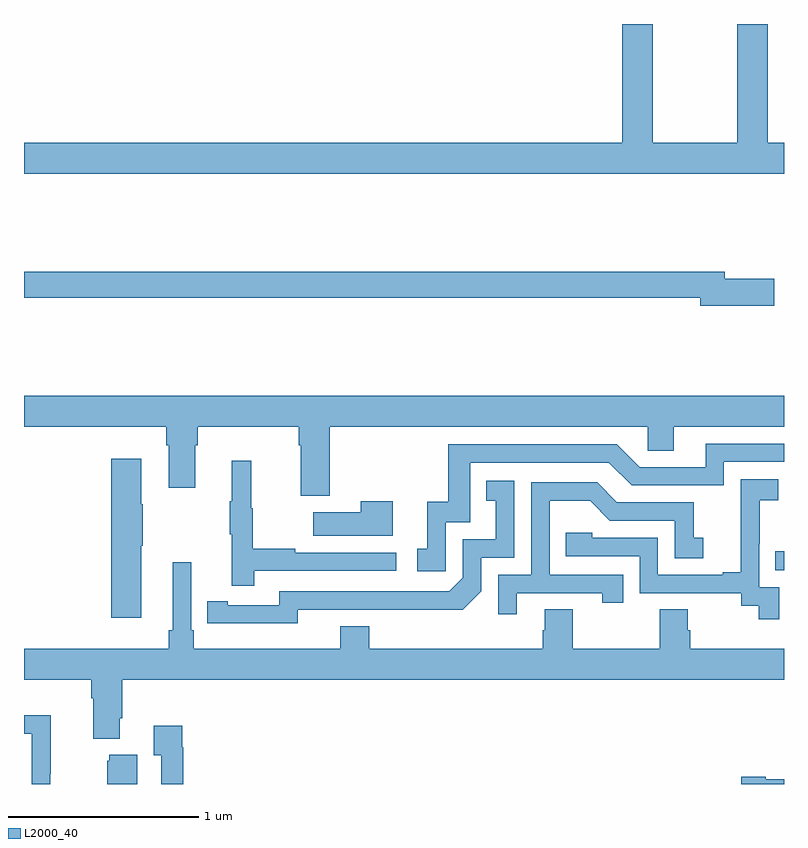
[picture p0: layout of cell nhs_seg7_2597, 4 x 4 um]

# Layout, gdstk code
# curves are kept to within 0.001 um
import gdstk
lib = gdstk.Library(unit=1e-6, precision=1e-09)
def R(c, l, rs):  # rectangles x0, y0, x1, y1
    for r in rs: c.add(gdstk.rectangle(r[:2], r[2:], *l))
def P(c, l, *ps):  # polygons
    for p in ps: c.add(gdstk.Polygon(p, *l))
L2000_40 = (2000, 40)

nhs_seg7_2597 = lib.new_cell('nhs_seg7_2597')
R(nhs_seg7_2597, L2000_40, [(282.955,1069.125,283,1069.226)])
P(nhs_seg7_2597, L2000_40, [(283,1071.376),(282.914,1071.376),(282.914,1072),(282.754,1072),(282.754,1071.376),(282.309,1071.376),(282.309,1072),(282.149,1072),(282.149,1071.376),(279,1071.376),(279,1071.212),(283,1071.212)],
  [(282.949,1070.66),(282.688,1070.66),(282.688,1070.696),(279,1070.696),(279,1070.56),(282.56,1070.56),(282.56,1070.518),(282.949,1070.518)],
  [(280.61,1069.88),(282.282,1069.88),(282.282,1069.753),(282.421,1069.753),(282.421,1069.88),(283,1069.88),(283,1070.044),(279,1070.044),(279,1069.88),(279.749,1069.88),(279.749,1069.784),(279.761,1069.784),(279.761,1069.56),(279.901,1069.56),(279.901,1069.784),(279.914,1069.784),(279.914,1069.88),(280.445,1069.88),(280.445,1069.784),(280.457,1069.784),(280.457,1069.518),(280.61,1069.518)],
  [(281.22,1069.377),(281.349,1069.377),(281.349,1069.692),(282.078,1069.692),(282.198,1069.572),(282.684,1069.572),(282.684,1069.695),(283,1069.695),(283,1069.791),(282.587,1069.791),(282.587,1069.668),(282.24,1069.668),(282.12,1069.788),(281.233,1069.788),(281.233,1069.486),(281.123,1069.486),(281.123,1069.239),(281.07,1069.239),(281.07,1069.119),(281.22,1069.119)],
  [(279.616,1069.255),(279.624,1069.255),(279.624,1069.472),(279.616,1069.472),(279.616,1069.711),(279.458,1069.711),(279.458,1068.876),(279.616,1068.876)],
  [(280.211,1069.122),(280.96,1069.122),(280.96,1069.218),(280.427,1069.218),(280.427,1069.238),(280.204,1069.238),(280.204,1069.452),(280.196,1069.452),(280.196,1069.702),(280.094,1069.702),(280.094,1069.489),(280.083,1069.489),(280.083,1069.315),(280.094,1069.315),(280.094,1069.044),(280.211,1069.044)],
  [(282.975,1069.035),(282.87,1069.035),(282.87,1069.265),(282.872,1069.265),(282.872,1069.493),(282.97,1069.493),(282.97,1069.603),(282.772,1069.603),(282.772,1069.397),(282.773,1069.397),(282.773,1069.114),(282.677,1069.114),(282.677,1069.101),(282.336,1069.101),(282.336,1069.296),(281.991,1069.296),(281.991,1069.323),(281.851,1069.323),(281.851,1069.2),(282.24,1069.2),(282.24,1069.005),(282.774,1069.005),(282.774,1068.937),(282.867,1068.937),(282.867,1068.867),(282.975,1068.867)],
  [(280.44,1068.918),(281.308,1068.917),(281.406,1069.014),(281.406,1069.191),(281.58,1069.191),(281.58,1069.597),(281.434,1069.597),(281.434,1069.491),(281.483,1069.491),(281.483,1069.287),(281.31,1069.287),(281.31,1069.086),(281.238,1069.014),(280.344,1069.014),(280.344,1068.942),(280.072,1068.942),(280.072,1068.962),(279.964,1068.962),(279.964,1068.846),(280.44,1068.845)],
  [(281.593,1069.005),(282.044,1069.005),(282.044,1068.954),(282.155,1068.954),(282.155,1069.101),(281.766,1069.101),(281.766,1069.49),(281.98,1069.49),(282.084,1069.386),(282.426,1069.386),(282.426,1069.188),(282.574,1069.188),(282.574,1069.297),(282.525,1069.297),(282.525,1069.482),(282.121,1069.482),(282.016,1069.587),(281.67,1069.587),(281.67,1069.101),(281.496,1069.101),(281.496,1068.894),(281.593,1068.894)],
  [(280.942,1069.489),(280.772,1069.489),(280.772,1069.429),(280.523,1069.429),(280.523,1069.307),(280.942,1069.307)],
  [(279.505,1068.346),(279.518,1068.346),(279.518,1068.548),(283,1068.548),(283,1068.712),(282.506,1068.712),(282.506,1068.81),(282.493,1068.81),(282.493,1068.92),(282.346,1068.92),(282.346,1068.712),(281.889,1068.712),(281.889,1068.92),(281.741,1068.92),(281.741,1068.81),(281.729,1068.81),(281.729,1068.712),(280.817,1068.712),(280.817,1068.829),(280.664,1068.829),(280.664,1068.712),(279.893,1068.712),(279.893,1068.808),(279.879,1068.808),(279.879,1069.168),(279.782,1069.168),(279.782,1068.808),(279.763,1068.808),(279.763,1068.712),(279,1068.712),(279,1068.548),(279.353,1068.548),(279.353,1068.452),(279.365,1068.452),(279.365,1068.239),(279.505,1068.239)],
  [(279.138,1068.055),(279.141,1068.055),(279.141,1068.362),(279,1068.362),(279,1068.264),(279.041,1068.264),(279.041,1068.01),(279.042,1068.01),(279.042,1068),(279.138,1068)],
  [(279.839,1068.194),(279.832,1068.194),(279.832,1068.307),(279.683,1068.307),(279.683,1068.151),(279.723,1068.151),(279.723,1068),(279.839,1068)],
  [(279.595,1068.154),(279.449,1068.154),(279.449,1068.123),(279.437,1068.123),(279.437,1068),(279.595,1068)],
  [(283,1068.025),(282.903,1068.025),(282.903,1068.038),(282.774,1068.038),(282.774,1068),(283,1068)])

lib.write_gds('nhs_seg7_2597.gds')
